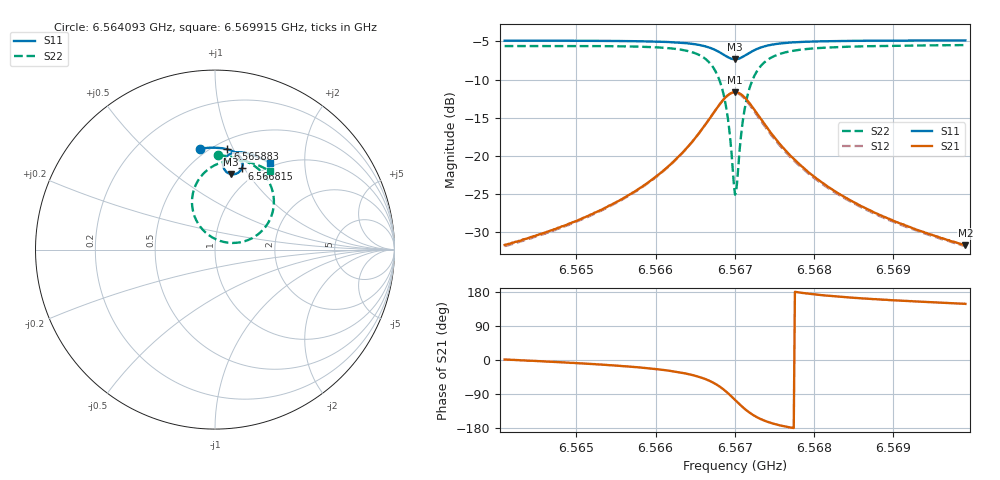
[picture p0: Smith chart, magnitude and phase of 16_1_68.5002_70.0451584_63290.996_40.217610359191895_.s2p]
#  HZ  S  RI  R  50.00
! Rohde & Schwarz Vector Network Analyzer
! Rohde-Schwarz,ZNB20-2Port,1311601062101988,3.16
! Created: UTC 3/20/2024, 5:04:22 PM
! freq[Hz]  re:S11  im:S11  re:S21  im:S21  re:S12  im:S12  re:S22  im:S22
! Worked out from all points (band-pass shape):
!   401 points, 6.564093 GHz to 6.569915 GHz, reference 50 ohm
!   highest |S21| = -11.63 dB at 6.567004 GHz (marker M1); lowest = -31.7 dB at 6.569915 GHz (marker M2)
!   |S21| within 3 dB of the highest: 6.566714 GHz to 6.567296 GHz (582.2 kHz wide, 0.00887 % of centre)
!   lowest |S11| = -7.3 dB at 6.567004 GHz (marker M3), VSWR 2.51, Z = 40.4 + j41.7 ohm
!   |S11| at or under -10 dB: nowhere
!   |S22| runs from -25.1 to -5.5 dB; largest |S21 - S12| = 0.012
!   S11 on the Smith chart (normalised r, x): 6.564093 GHz: 0.45, +0.76; 6.565883 GHz: 0.58, +0.95; 6.566815 GHz: 0.83, +0.97; 6.569915 GHz: 0.94, +1.35
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6.5640926e9  -0.0831 0.5629  0.0262 0.000637  0.0258 9.77e-05  0.0156 0.5246
6.5650679e9  -0.00441 0.5679  0.0385 -0.00609  0.0379 -0.00666  0.1048 0.5145
6.5658831e9  0.069 0.5588  0.0614 -0.0241  0.0603 -0.0246  0.2023 0.4771
6.5660433e9  0.0852 0.5541  0.069 -0.0319  0.0678 -0.0327  0.2269 0.4607
6.5663489e9  0.1189 0.5373  0.0878 -0.06  0.0865 -0.0612  0.2825 0.4053
6.5665819e9  0.1451 0.5094  0.1019 -0.1082  0.0998 -0.1101  0.3236 0.3122
6.5667129e9  0.1541 0.4813  0.0981 -0.1571  0.0941 -0.1598  0.3233 0.219
6.5668148e9  0.1492 0.4522  0.0723 -0.2072  0.0659 -0.2099  0.2793 0.1246
6.5669021e9  0.1291 0.4283  0.0209 -0.2463  0.0116 -0.2468  0.1863 0.0541
6.5669312e9  0.1186 0.4229  -0.00273 -0.254  -0.0127 -0.2532  0.1438 0.0411
6.5669895e9  0.0946 0.4196  -0.0555 -0.2556  -0.0657 -0.2514  0.0504 0.0423
6.567004e9  0.0884 0.4206  -0.0686 -0.2528  -0.0788 -0.2477  0.0274 0.0487
6.5670331e9  0.0765 0.4245  -0.0938 -0.2434  -0.1034 -0.2362  -0.0158 0.0682
6.5670914e9  0.0577 0.4394  -0.1351 -0.2119  -0.1417 -0.2023  -0.0831 0.1286
6.567135e9  0.049 0.4539  -0.1553 -0.1821  -0.1592 -0.1721  -0.1129 0.1828
6.5671933e9  0.0451 0.4741  -0.1678 -0.1425  -0.169 -0.1327  -0.1279 0.2535
6.567266e9  0.0492 0.4958  -0.1676 -0.0998  -0.1666 -0.0917  -0.1196 0.3271
6.5675281e9  0.0882 0.5345  -0.1254 -0.0216  -0.1229 -0.0181  -0.024 0.4571
6.5679793e9  0.1468 0.5421  -0.0746 0.00803  -0.0727 0.00918  0.0962 0.4964
6.5683724e9  0.1857 0.5352  -0.0529 0.013  -0.0518 0.0135  0.1593 0.4933
6.5689547e9  0.2344 0.5189  -0.036 0.0144  -0.0351 0.0146  0.2254 0.4758
6.5699154e9  0.3037 0.4835  -0.0221 0.0137  -0.0217 0.0138  0.3052 0.4365
